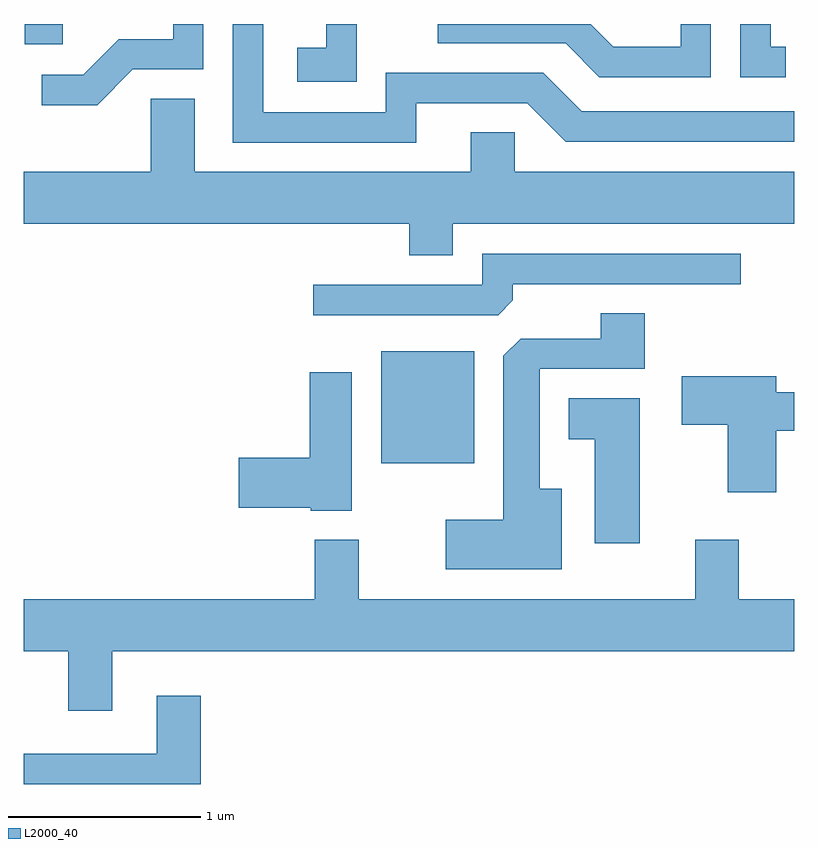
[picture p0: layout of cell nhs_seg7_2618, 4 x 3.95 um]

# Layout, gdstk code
import gdstk
lib = gdstk.Library(unit=1e-6, precision=1e-09)
def R(c, l, rs):  # rectangles x0, y0, x1, y1
    for r in rs: c.add(gdstk.rectangle(r[:2], r[2:], *l))
def P(c, l, *ps):  # polygons
    for p in ps: c.add(gdstk.Polygon(p, *l))
L2000_40 = (2000, 40)

nhs_seg7_2618 = lib.new_cell('nhs_seg7_2618')
R(nhs_seg7_2618, L2000_40, [(267.466,1701.971,267.949,1702.554), (265.616,1704.146,265.814,1704.252)])
P(nhs_seg7_2618, L2000_40, [(267.339,1704.252),(267.181,1704.252),(267.181,1704.129),(267.031,1704.129),(267.031,1703.951),(267.339,1703.951)],
  [(269.179,1704.252),(269.021,1704.252),(269.021,1704.134),(268.672,1704.134),(268.554,1704.252),(267.761,1704.252),(267.761,1704.151),(268.424,1704.151),(268.599,1703.976),(269.179,1703.976)],
  [(267.649,1703.841),(268.224,1703.841),(268.424,1703.641),(269.611,1703.641),(269.611,1703.799),(268.507,1703.799),(268.307,1703.999),(267.491,1703.999),(267.491,1703.794),(266.854,1703.794),(266.854,1704.252),(266.696,1704.252),(266.696,1703.636),(267.649,1703.636)],
  [(266.177,1704.016),(266.544,1704.016),(266.544,1704.252),(266.386,1704.252),(266.386,1704.174),(266.104,1704.174),(265.919,1703.989),(265.703,1703.989),(265.703,1703.831),(265.992,1703.831)],
  [(269.568,1704.134),(269.489,1704.134),(269.489,1704.252),(269.331,1704.252),(269.331,1703.976),(269.568,1703.976)],
  [(267.839,1703.216),(269.611,1703.216),(269.611,1703.484),(268.159,1703.484),(268.159,1703.689),(267.931,1703.689),(267.931,1703.484),(266.499,1703.484),(266.499,1703.864),(266.271,1703.864),(266.271,1703.484),(265.611,1703.484),(265.611,1703.216),(267.611,1703.216),(267.611,1703.051),(267.839,1703.051)],
  [(268.149,1702.817),(268.149,1702.901),(269.333,1702.901),(269.333,1703.059),(267.991,1703.059),(267.991,1702.899),(267.113,1702.899),(267.113,1702.741),(268.074,1702.741)],
  [(268.404,1701.839),(268.289,1701.839),(268.289,1702.461),(268.834,1702.461),(268.834,1702.749),(268.606,1702.749),(268.606,1702.619),(268.192,1702.619),(268.101,1702.529),(268.101,1701.679),(267.801,1701.679),(267.801,1701.421),(268.404,1701.421)],
  [(267.314,1702.444),(267.096,1702.444),(267.096,1701.999),(266.726,1701.999),(266.726,1701.741),(267.1,1701.741),(267.1,1701.726),(267.314,1701.726)],
  [(269.519,1702.141),(269.611,1702.141),(269.611,1702.339),(269.519,1702.339),(269.519,1702.424),(269.026,1702.424),(269.026,1702.171),(269.266,1702.171),(269.266,1701.821),(269.519,1701.821)],
  [(268.809,1702.309),(268.441,1702.309),(268.441,1702.096),(268.576,1702.096),(268.576,1701.556),(268.809,1701.556)],
  [(266.069,1700.996),(269.611,1700.996),(269.611,1701.264),(269.324,1701.264),(269.324,1701.574),(269.096,1701.574),(269.096,1701.264),(267.349,1701.264),(267.349,1701.574),(267.121,1701.574),(267.121,1701.264),(265.611,1701.264),(265.611,1700.996),(265.841,1700.996),(265.841,1700.686),(266.069,1700.686)],
  [(266.529,1700.764),(266.301,1700.764),(266.301,1700.464),(265.611,1700.464),(265.611,1700.306),(266.529,1700.306)])

lib.write_gds('nhs_seg7_2618.gds')
